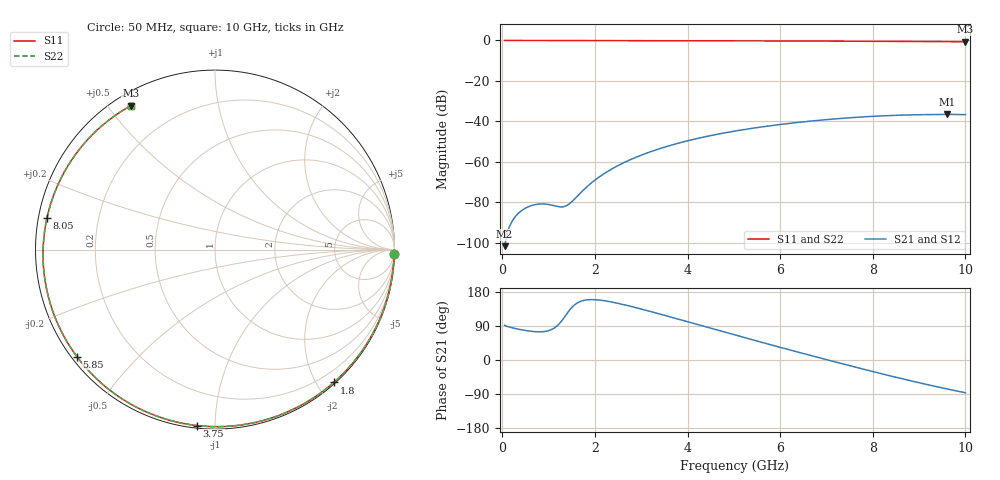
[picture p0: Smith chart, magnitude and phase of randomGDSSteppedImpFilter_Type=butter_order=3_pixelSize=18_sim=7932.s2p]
! freq	dB(S11)	phase(S11)	dB(S12)	phase(S12)
!  dB(S21)	phase(S21)	dB(S22)	phase(S22)
!S-par simulation data
#  GHz  S  DB  R 50
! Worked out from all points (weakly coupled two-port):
!   200 points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, 50 MHz to 10 GHz, reference 50 ohm
!   highest |S21| = -36.63 dB at 9.6 GHz (marker M1); lowest = -101.8 dB at 50 MHz (marker M2)
!   lowest |S11| = -0.6 dB at 10 GHz (marker M3), VSWR 27.10, Z = 2.45 + j28.6 ohm
!   |S11| at or under -10 dB: nowhere
!   |S22| runs from -0.6 to 0.0 dB; largest |S21 - S12| = 0
!   S11 on the Smith chart (normalised r, x): 50 MHz: 1, -86; 1.8 GHz: 0.02, -2.24; 3.75 GHz: 0.01, -0.90; 5.85 GHz: 0.02, -0.34; 8.05 GHz: 0.02, +0.09; 10 GHz: 0.05, +0.57
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0.05  -0.00 -1.3  -101.82 91.6  -101.82 91.6  -0.00 -1.3
0.4  -0.02 -10.9  -84.50 80.1  -84.50 80.1  -0.02 -10.9
0.75  -0.03 -20.4  -81.10 74.5  -81.10 74.5  -0.03 -20.4
1.1  -0.04 -29.8  -81.66 82.6  -81.66 82.6  -0.04 -29.8
1.5  -0.05 -40.4  -79.83 138.5  -79.83 138.5  -0.05 -40.4
1.75  -0.06 -46.9  -74.07 156.9  -74.07 156.9  -0.06 -46.9
1.8  -0.06 -48.2  -72.99 158.2  -72.99 158.2  -0.06 -48.2
2.1  -0.07 -55.9  -67.44 158.1  -67.44 158.1  -0.07 -55.9
2.45  -0.08 -64.7  -62.52 150.8  -62.52 150.8  -0.08 -64.7
2.9  -0.10 -75.7  -57.69 137.6  -57.69 137.6  -0.10 -75.7
3.4  -0.11 -87.7  -53.54 121.3  -53.54 121.3  -0.11 -87.7
3.75  -0.13 -95.8  -51.17 109.5  -51.17 109.5  -0.13 -95.8
4.4  -0.15 -110.6  -47.57 87.3  -47.57 87.3  -0.15 -110.6
5.05  -0.19 -124.9  -44.75 65.2  -44.75 65.2  -0.19 -124.9
5.85  -0.23 -142.3  -42.03 38.4  -42.03 38.4  -0.23 -142.3
6.7  -0.30 -160.6  -39.82 10.6  -39.82 10.6  -0.30 -160.6
7.4  -0.36 -176.0  -38.44 -11.7  -38.44 -11.7  -0.36 -176.0
8.05  -0.42 169.3  -37.50 -32.0  -37.50 -32.0  -0.42 169.3
8.35  -0.45 162.3  -37.18 -41.1  -37.18 -41.1  -0.45 162.3
8.95  -0.52 147.8  -36.77 -58.6  -36.77 -58.6  -0.52 147.8
9.6  -0.60 131.1  -36.63 -76.3  -36.63 -76.3  -0.59 131.2
10  -0.64 120.4  -36.68 -86.4  -36.68 -86.4  -0.64 120.4
